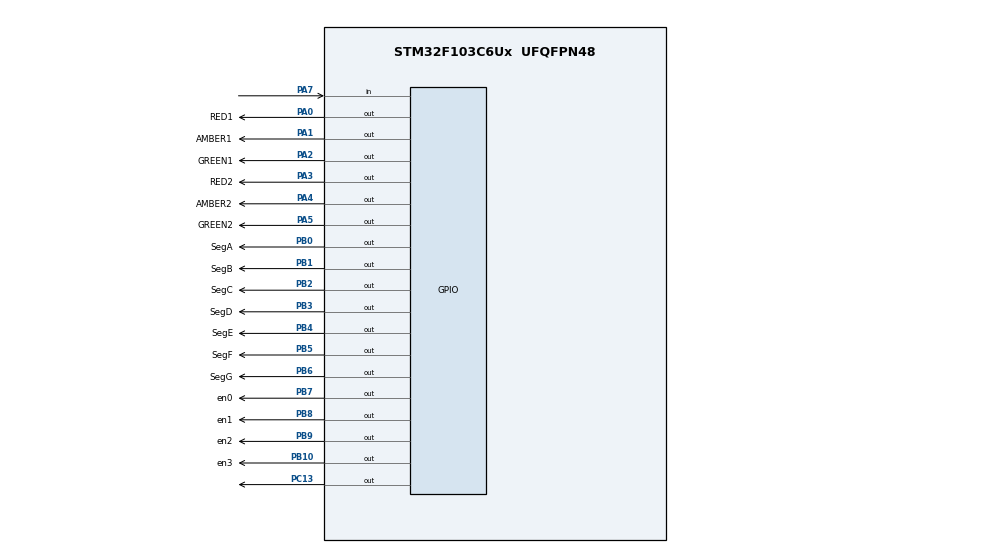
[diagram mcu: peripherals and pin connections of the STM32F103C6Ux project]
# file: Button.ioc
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Mcu.Family=STM32F1
Mcu.Name=STM32F103C6Ux
Mcu.Package=UFQFPN48
NVIC.PriorityGroup=NVIC_PRIORITYGROUP_4
NVIC.TIM2_IRQn=true\:0\:0\:false\:false\:true\:true\:true
PA0-WKUP.GPIO_Label=RED1
PA0-WKUP.Signal=GPIO_Output
PA1.GPIO_Label=AMBER1
PA1.Signal=GPIO_Output
PA2.GPIO_Label=GREEN1
PA2.Signal=GPIO_Output
PA3.GPIO_Label=RED2
PA3.Signal=GPIO_Output
PA4.GPIO_Label=AMBER2
PA4.Signal=GPIO_Output
PA5.GPIO_Label=GREEN2
PA5.Signal=GPIO_Output
PA7.GPIO_PuPd=GPIO_PULLUP
PA7.Signal=GPIO_Input
PB0.GPIO_Label=SegA
PB0.Signal=GPIO_Output
PB1.GPIO_Label=SegB
PB1.Signal=GPIO_Output
PB10.GPIO_Label=en3
PB10.Signal=GPIO_Output
PB2.GPIO_Label=SegC
PB2.Signal=GPIO_Output
PB3.GPIO_Label=SegD
PB3.Signal=GPIO_Output
PB4.GPIO_Label=SegE
PB4.Signal=GPIO_Output
PB5.GPIO_Label=SegF
PB5.Signal=GPIO_Output
PB6.GPIO_Label=SegG
PB6.Signal=GPIO_Output
PB7.GPIO_Label=en0
PB7.Signal=GPIO_Output
PB8.GPIO_Label=en1
PB8.Signal=GPIO_Output
PB9.GPIO_Label=en2
PB9.Signal=GPIO_Output
PC13-TAMPER-RTC.Signal=GPIO_Output
ProjectManager.HeapSize=0x200
ProjectManager.StackSize=0x400
ProjectManager.TargetToolchain=STM32CubeIDE
RCC.APB1Freq_Value=8000000
RCC.APB2Freq_Value=8000000
TIM2.Period=9
TIM2.Prescaler=7999
VP_SYS_VS_ND.Mode=No_Debug
VP_TIM2_VS_ClockSourceINT.Mode=Internal
board=custom

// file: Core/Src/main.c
/* USER CODE BEGIN Header */
/**
 ******************************************************************************
 * @file           : main.c
 * @brief          : Main program body
 ******************************************************************************
 * @attention
 *
 * <h2><center>&copy; Copyright (c) 2023 STMicroelectronics.
 * All rights reserved.</center></h2>
 *
 * This software component is licensed by ST under BSD 3-Clause license,
 * the "License"; You may not use this file except in compliance with the
 * License. You may obtain a copy of the License at:
 *                        opensource.org/licenses/BSD-3-Clause
 *
 ******************************************************************************
 */
/* USER CODE END Header */
#include "main.h"

/* USER CODE BEGIN Includes */
#include "software_timer.h"
#include "Button_reading.h"
#include "display7seg.h"
/* USER CODE END Includes */

/* USER CODE BEGIN PD */
#define time 1000 //1s
/* USER CODE END PD */

TIM_HandleTypeDef htim2;

void SystemClock_Config(void);
static void MX_GPIO_Init(void);
static void MX_TIM2_Init(void);

/* USER CODE BEGIN 0 */

const int MAX_LED = 4;
int led_buffer[4];

void updateClockBuffer(int val1, int val2) {
	led_buffer[0] = val1 / 10;
	led_buffer[1] = val1 % 10;
	led_buffer[2] = val2 / 10;
	led_buffer[3] = val2 % 10;
}

/* USER CODE END 0 */

int main(void) {

	/* MCU Configuration--------------------------------------------------------*/

	/* Reset of all peripherals, Initializes the Flash interface and the Systick. */
	HAL_Init();

	/* Configure the system clock */
	SystemClock_Config();

	/* USER CODE BEGIN SysInit */
	initButton();
	/* USER CODE END SysInit */

	/* Initialize all configured peripherals */
	MX_GPIO_Init();
	MX_TIM2_Init();
	/* USER CODE BEGIN 2 */
	HAL_TIM_Base_Start_IT(&htim2);
	/* USER CODE END 2 */

	/* Infinite loop */
	/* USER CODE BEGIN WHILE */
	enum TrafficLightState {
		RED1_GREEN2, RED1_YELLOW2, GREEN1_RED2, YELLOW1_RED2, INVALID
	};
	enum TrafficLightState LTstate = RED1_GREEN2;
	enum TrafficLightState nextLTstate = LTstate;

	int counter_Light = 3;
	int West = 5;
	int North = 3;
	int en = 3;
	setTimer1(time);
	while (1) {
		if (timer1_flag) {
			setTimer1(time);
			read_button();
			HAL_GPIO_WritePin(GPIOC, GPIO_PIN_13, is_button_pressed(0));

			update7SEG(en--);
			if (en < 0) {
				en = 3;
			}
			switch (LTstate) {
			case RED1_GREEN2:
				updateClockBuffer(West--, North--);
				if(North <= 0){
					North = 2;
				}
				HAL_GPIO_WritePin(YELLOW1_GPIO_Port, YELLOW1_Pin, GPIO_PIN_SET);
				HAL_GPIO_WritePin(GREEN1_GPIO_Port, GREEN1_Pin, GPIO_PIN_SET);
				HAL_GPIO_WritePin(RED1_GPIO_Port, RED1_Pin, GPIO_PIN_RESET);
				HAL_GPIO_WritePin(GREEN2_GPIO_Port, GREEN2_Pin, GPIO_PIN_RESET);
				counter_Light--;
				if (counter_Light <= 0) {
					nextLTstate = RED1_YELLOW2;
					counter_Light = 2;
				}
				break;
			case RED1_YELLOW2:
				updateClockBuffer(West--, North--);
				if(North <= 0){
					North = 5;
				}
				if(West <= 0){
					West = 3;
				}
				HAL_GPIO_WritePin(YELLOW2_GPIO_Port, YELLOW2_Pin, GPIO_PIN_RESET);
				HAL_GPIO_WritePin(GREEN2_GPIO_Port, GREEN2_Pin, GPIO_PIN_SET);
				counter_Light--;
				if (counter_Light <= 0) {
					nextLTstate = GREEN1_RED2;
					counter_Light = 3;
				}
				break;
			case GREEN1_RED2:
				updateClockBuffer(West--, North--);
				if(West <= 0){
					West = 2;
				}
				HAL_GPIO_WritePin(RED2_GPIO_Port, RED2_Pin, GPIO_PIN_RESET);
				HAL_GPIO_WritePin(YELLOW2_GPIO_Port, YELLOW2_Pin, GPIO_PIN_SET);
				HAL_GPIO_WritePin(RED1_GPIO_Port, RED1_Pin, GPIO_PIN_SET);
				HAL_GPIO_WritePin(GREEN1_GPIO_Port, GREEN1_Pin, GPIO_PIN_RESET);
				counter_Light--;
				if (counter_Light <= 0) {
					nextLTstate = YELLOW1_RED2;
					counter_Light = 2;
				}
				break;
			case YELLOW1_RED2:
				updateClockBuffer(West--, North--);
				if(North <= 0){
					North = 3;
				}
				if(West <= 0){
					West = 5;
				}
				HAL_GPIO_WritePin(YELLOW1_GPIO_Port, YELLOW1_Pin, GPIO_PIN_RESET);
				HAL_GPIO_WritePin(GREEN1_GPIO_Port, GREEN1_Pin, GPIO_PIN_SET);
				counter_Light--;
				if (counter_Light <= 0) {
					nextLTstate = RED1_GREEN2;
					counter_Light = 3;
				}
				break;
			case INVALID:
				en = 4;
				break;
			}
			LTstate = nextLTstate;
		}

		/* USER CODE END WHILE */

	}
}

void SystemClock_Config(void) {
	RCC_OscInitTypeDef RCC_OscInitStruct = { 0 };
	RCC_ClkInitTypeDef RCC_ClkInitStruct = { 0 };

	/** Initializes the RCC Oscillators according to the specified parameters
	 * in the RCC_OscInitTypeDef structure.
	 */
	RCC_OscInitStruct.OscillatorType = RCC_OSCILLATORTYPE_HSI;
	RCC_OscInitStruct.HSIState = RCC_HSI_ON;
	RCC_OscInitStruct.HSICalibrationValue = RCC_HSICALIBRATION_DEFAULT;
	RCC_OscInitStruct.PLL.PLLState = RCC_PLL_NONE;
	if (HAL_RCC_OscConfig(&RCC_OscInitStruct) != HAL_OK) {
		Error_Handler();
	}
	/** Initializes the CPU, AHB and APB buses clocks
	 */
	RCC_ClkInitStruct.ClockType = RCC_CLOCKTYPE_HCLK | RCC_CLOCKTYPE_SYSCLK
			| RCC_CLOCKTYPE_PCLK1 | RCC_CLOCKTYPE_PCLK2;
	RCC_ClkInitStruct.SYSCLKSource = RCC_SYSCLKSOURCE_HSI;
	RCC_ClkInitStruct.AHBCLKDivider = RCC_SYSCLK_DIV1;
	RCC_ClkInitStruct.APB1CLKDivider = RCC_HCLK_DIV1;
	RCC_ClkInitStruct.APB2CLKDivider = RCC_HCLK_DIV1;

	if (HAL_RCC_ClockConfig(&RCC_ClkInitStruct, FLASH_LATENCY_0) != HAL_OK) {
		Error_Handler();
	}
}

static void MX_TIM2_Init(void) {

	TIM_ClockConfigTypeDef sClockSourceConfig = { 0 };
	TIM_MasterConfigTypeDef sMasterConfig = { 0 };

	htim2.Instance = TIM2;
	htim2.Init.Prescaler = 7999;
	htim2.Init.CounterMode = TIM_COUNTERMODE_UP;
	htim2.Init.Period = 9;
	htim2.Init.ClockDivision = TIM_CLOCKDIVISION_DIV1;
	htim2.Init.AutoReloadPreload = TIM_AUTORELOAD_PRELOAD_DISABLE;
	if (HAL_TIM_Base_Init(&htim2) != HAL_OK) {
		Error_Handler();
	}
	sClockSourceConfig.ClockSource = TIM_CLOCKSOURCE_INTERNAL;
	if (HAL_TIM_ConfigClockSource(&htim2, &sClockSourceConfig) != HAL_OK) {
		Error_Handler();
	}
	sMasterConfig.MasterOutputTrigger = TIM_TRGO_RESET;
	sMasterConfig.MasterSlaveMode = TIM_MASTERSLAVEMODE_DISABLE;
	if (HAL_TIMEx_MasterConfigSynchronization(&htim2, &sMasterConfig)
			!= HAL_OK) {
		Error_Handler();
	}

}

static void MX_GPIO_Init(void) {
	GPIO_InitTypeDef GPIO_InitStruct = { 0 };

	/* GPIO Ports Clock Enable */
	__HAL_RCC_GPIOC_CLK_ENABLE();
	__HAL_RCC_GPIOA_CLK_ENABLE();
	__HAL_RCC_GPIOB_CLK_ENABLE();

	/*Configure GPIO pin Output Level */
	HAL_GPIO_WritePin(GPIOC, GPIO_PIN_13, GPIO_PIN_RESET);

	/*Configure GPIO pin Output Level */
	HAL_GPIO_WritePin(GPIOA,
	RED1_Pin | AMBER1_Pin | GREEN1_Pin | RED2_Pin | AMBER2_Pin | GREEN2_Pin,
			GPIO_PIN_RESET);

	/*Configure GPIO pin Output Level */
	HAL_GPIO_WritePin(GPIOB,
			SegA_Pin | SegB_Pin | SegC_Pin | en3_Pin | SegD_Pin | SegE_Pin
					| SegF_Pin | SegG_Pin | en0_Pin | en1_Pin | en2_Pin,
			GPIO_PIN_RESET);

	/*Configure GPIO pin : PC13 */
	GPIO_InitStruct.Pin = GPIO_PIN_13;
	GPIO_InitStruct.Mode = GPIO_MODE_OUTPUT_PP;
	GPIO_InitStruct.Pull = GPIO_NOPULL;
	GPIO_InitStruct.Speed = GPIO_SPEED_FREQ_LOW;
	HAL_GPIO_Init(GPIOC, &GPIO_InitStruct);

	/*Configure GPIO pins : RED1_Pin AMBER1_Pin GREEN1_Pin RED2_Pin
	 AMBER2_Pin GREEN2_Pin */
	GPIO_InitStruct.Pin = RED1_Pin | AMBER1_Pin | GREEN1_Pin | RED2_Pin
			| AMBER2_Pin | GREEN2_Pin;
	GPIO_InitStruct.Mode = GPIO_MODE_OUTPUT_PP;
	GPIO_InitStruct.Pull = GPIO_NOPULL;
	GPIO_InitStruct.Speed = GPIO_SPEED_FREQ_LOW;
	HAL_GPIO_Init(GPIOA, &GPIO_InitStruct);

	/*Configure GPIO pin : PA7 */
	GPIO_InitStruct.Pin = GPIO_PIN_7;
	GPIO_InitStruct.Mode = GPIO_MODE_INPUT;
	GPIO_InitStruct.Pull = GPIO_PULLUP;
	HAL_GPIO_Init(GPIOA, &GPIO_InitStruct);

	/*Configure GPIO pins : SegA_Pin SegB_Pin SegC_Pin en3_Pin
	 SegD_Pin SegE_Pin SegF_Pin SegG_Pin
	 en0_Pin en1_Pin en2_Pin */
	GPIO_InitStruct.Pin = SegA_Pin | SegB_Pin | SegC_Pin | en3_Pin | SegD_Pin
			| SegE_Pin | SegF_Pin | SegG_Pin | en0_Pin | en1_Pin | en2_Pin;
	GPIO_InitStruct.Mode = GPIO_MODE_OUTPUT_PP;
	GPIO_InitStruct.Pull = GPIO_NOPULL;
	GPIO_InitStruct.Speed = GPIO_SPEED_FREQ_LOW;
	HAL_GPIO_Init(GPIOB, &GPIO_InitStruct);

}

/* USER CODE BEGIN 4 */
void HAL_TIM_PeriodElapsedCallback(TIM_HandleTypeDef *htim) {
	timerRun();
}
/* USER CODE END 4 */

void Error_Handler(void) {
	__disable_irq();
	while (1) {
	}
}

/************************ (C) COPYRIGHT STMicroelectronics *****END OF FILE****/
